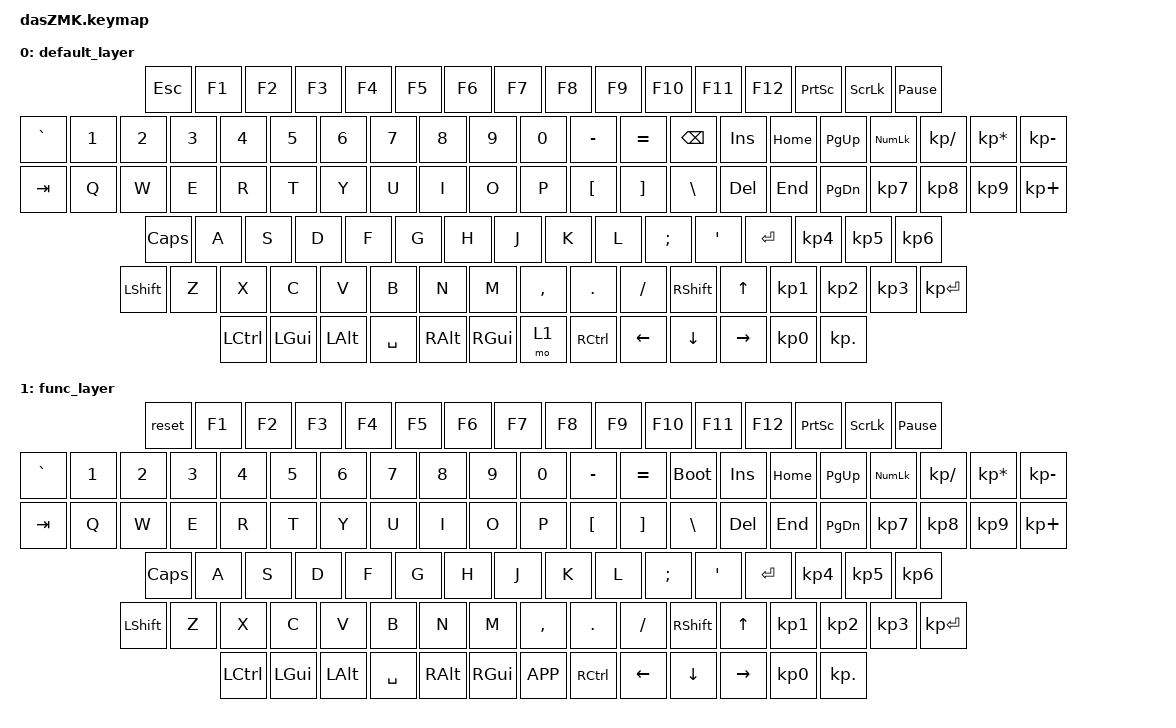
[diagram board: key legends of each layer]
/*
 * Copyright (c) 2021 Martin Knobel
 *
 * SPDX-License-Identifier: MIT
 */

#include <behaviors.dtsi>
#include <dt-bindings/zmk/keys.h>
#include <dt-bindings/zmk/outputs.h>
#include <dt-bindings/zmk/bt.h>

/ {
	keymap {
		compatible = "zmk,keymap";
		
		default_layer {
			bindings = <
		&kp ESC 	&kp F1 &kp F2 &kp F3 &kp F4 	 &kp F5 &kp F6 &kp F7 &kp F8  	   &kp F9 &kp F10 &kp F11 &kp F12  		&kp PSCRN  &kp SLCK  &kp PAUSE_BREAK
		&kp GRAVE &kp N1 &kp N2 &kp N3 &kp N4 &kp N5 &kp N6 &kp N7 &kp N8 &kp N9 &kp N0 &kp MINUS &kp EQUAL  &kp BSPC     	&kp INS	  &kp HOME	&kp PG_UP 		&kp KP_NUM &kp KP_DIVIDE &kp KP_MULTIPLY &kp KP_SUBTRACT
		&kp TAB  &kp Q  &kp W  &kp E  &kp R  &kp T  &kp Y  &kp U  &kp I  &kp O  &kp P  &kp LBKT  &kp RBKT    &kp BSLH		&kp DEL	  &kp END 	&kp PG_DN		&kp KP_N7  &kp KP_N8    &kp KP_N9 &kp KP_PLUS
		&kp CAPS  &kp A  &kp S  &kp D  &kp F  &kp G  &kp H  &kp J  &kp K  &kp L  &kp SEMI &kp SQT            &kp RET				 							&kp KP_N4  &kp KP_N5    &kp KP_N6 
		&kp LSHFT   &kp Z  &kp X  &kp C  &kp V  &kp B  &kp N  &kp M  &kp COMMA &kp DOT &kp FSLH              &kp RSHFT	    	 	 &kp UP						&kp KP_N1  &kp KP_N2    &kp KP_N3 &kp KP_ENTER
		&kp LCTRL &kp LGUI &kp LALT             &kp SPACE                   &kp RALT  &kp RGUI  &mo 1	     &kp RCTRL     &kp LEFT &kp DOWN &kp RIGHT			&kp KP_N0		&kp KP_DOT    
			>;
		};

		func_layer {
	bindings = <
		&reset 	&kp F1 &kp F2 &kp F3 &kp F4 	 &kp F5 &kp F6 &kp F7 &kp F8  	   &kp F9 &kp F10 &kp F11 &kp F12  			&kp PSCRN  &kp SLCK  &kp PAUSE_BREAK
		&kp GRAVE &kp N1 &kp N2 &kp N3 &kp N4 &kp N5 &kp N6 &kp N7 &kp N8 &kp N9 &kp N0 &kp MINUS &kp EQUAL  &bootloader    &kp INS	  &kp HOME	&kp PG_UP 		&kp KP_NUM &kp KP_DIVIDE &kp KP_MULTIPLY &kp KP_SUBTRACT
		&kp TAB  &kp Q  &kp W  &kp E  &kp R  &kp T  &kp Y  &kp U  &kp I  &kp O  &kp P  &kp LBKT  &kp RBKT    &kp BSLH		&kp DEL	  &kp END 	&kp PG_DN		&kp KP_N7  &kp KP_N8    &kp KP_N9 &kp KP_PLUS
		&kp CAPS  &kp A  &kp S  &kp D  &kp F  &kp G  &kp H  &kp J  &kp K  &kp L  &kp SEMI &kp SQT            &kp RET				 							&kp KP_N4  &kp KP_N5    &kp KP_N6 
		&kp LSHFT   &kp Z  &kp X  &kp C  &kp V  &kp B  &kp N  &kp M  &kp COMMA &kp DOT &kp FSLH              &kp RSHFT	    	 	 &kp UP						&kp KP_N1  &kp KP_N2    &kp KP_N3 &kp KP_ENTER
		&kp LCTRL &kp LGUI &kp LALT             &kp SPACE                   &kp RALT  &kp RGUI  &kp K_APP    &kp RCTRL     &kp LEFT &kp DOWN &kp RIGHT			&kp KP_N0		&kp KP_DOT   
		>;
		};
	};
};
